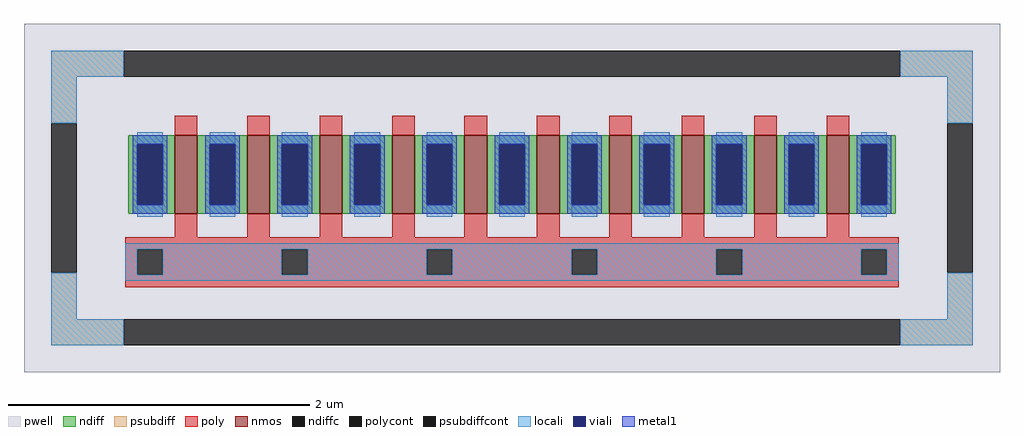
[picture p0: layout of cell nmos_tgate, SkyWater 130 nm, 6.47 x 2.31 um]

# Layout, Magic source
magic
tech sky130A
magscale 1 2
<< pwell >>
rect -646 -262 648 200
<< nmos >>
rect -446 -52 -416 52
rect -350 -52 -320 52
rect -254 -52 -224 52
rect -158 -52 -128 52
rect -62 -52 -32 52
rect 34 -52 64 52
rect 130 -52 160 52
rect 226 -52 256 52
rect 322 -52 352 52
rect 418 -52 448 52
<< ndiff >>
rect -508 40 -446 52
rect -508 -40 -496 40
rect -462 -40 -446 40
rect -508 -52 -446 -40
rect -416 40 -350 52
rect -416 -40 -400 40
rect -366 -40 -350 40
rect -416 -52 -350 -40
rect -320 40 -254 52
rect -320 -40 -304 40
rect -270 -40 -254 40
rect -320 -52 -254 -40
rect -224 40 -158 52
rect -224 -40 -208 40
rect -174 -40 -158 40
rect -224 -52 -158 -40
rect -128 40 -62 52
rect -128 -40 -112 40
rect -78 -40 -62 40
rect -128 -52 -62 -40
rect -32 40 34 52
rect -32 -40 -16 40
rect 18 -40 34 40
rect -32 -52 34 -40
rect 64 40 130 52
rect 64 -40 80 40
rect 114 -40 130 40
rect 64 -52 130 -40
rect 160 40 226 52
rect 160 -40 176 40
rect 210 -40 226 40
rect 160 -52 226 -40
rect 256 40 322 52
rect 256 -40 272 40
rect 306 -40 322 40
rect 256 -52 322 -40
rect 352 40 418 52
rect 352 -40 368 40
rect 402 -40 418 40
rect 352 -52 418 -40
rect 448 40 510 52
rect 448 -40 464 40
rect 498 -40 510 40
rect 448 -52 510 -40
<< ndiffc >>
rect -496 -40 -462 40
rect -400 -40 -366 40
rect -304 -40 -270 40
rect -208 -40 -174 40
rect -112 -40 -78 40
rect -16 -40 18 40
rect 80 -40 114 40
rect 176 -40 210 40
rect 272 -40 306 40
rect 368 -40 402 40
rect 464 -40 498 40
<< psubdiff >>
rect -610 130 -514 164
rect 516 130 612 164
rect -610 68 -576 130
rect 578 68 612 130
rect -610 -192 -576 -130
rect 578 -192 612 -130
rect -610 -226 -514 -192
rect 516 -226 612 -192
<< psubdiffcont >>
rect -514 130 516 164
rect -610 -130 -576 68
rect 578 -130 612 68
rect -514 -226 516 -192
<< poly >>
rect -446 52 -416 78
rect -350 52 -320 78
rect -254 52 -224 78
rect -158 52 -128 78
rect -62 52 -32 78
rect 34 52 64 78
rect 130 52 160 78
rect 226 52 256 78
rect 322 52 352 78
rect 418 52 448 78
rect -446 -83 -416 -52
rect -350 -83 -320 -52
rect -254 -83 -224 -52
rect -158 -83 -128 -52
rect -62 -83 -32 -52
rect 34 -83 64 -52
rect 130 -83 160 -52
rect 226 -83 256 -52
rect 322 -83 352 -52
rect 418 -83 448 -52
rect -512 -99 514 -83
rect -512 -133 -496 -99
rect -462 -133 -304 -99
rect -270 -133 -112 -99
rect -78 -133 80 -99
rect 114 -133 272 -99
rect 306 -133 464 -99
rect 498 -133 514 -99
rect -512 -149 514 -133
<< polycont >>
rect -496 -133 -462 -99
rect -304 -133 -270 -99
rect -112 -133 -78 -99
rect 80 -133 114 -99
rect 272 -133 306 -99
rect 464 -133 498 -99
<< locali >>
rect -610 130 -514 164
rect 516 130 612 164
rect -610 68 -576 130
rect 578 68 612 130
rect -496 40 -462 56
rect -496 -56 -462 -40
rect -400 40 -366 56
rect -400 -56 -366 -40
rect -304 40 -270 56
rect -304 -56 -270 -40
rect -208 40 -174 56
rect -208 -56 -174 -40
rect -112 40 -78 56
rect -112 -56 -78 -40
rect -16 40 18 56
rect -16 -56 18 -40
rect 80 40 114 56
rect 80 -56 114 -40
rect 176 40 210 56
rect 176 -56 210 -40
rect 272 40 306 56
rect 272 -56 306 -40
rect 368 40 402 56
rect 368 -56 402 -40
rect 464 40 498 56
rect 464 -56 498 -40
rect -610 -192 -576 -130
rect -512 -99 514 -91
rect -512 -133 -496 -99
rect -462 -133 -304 -99
rect -270 -133 -112 -99
rect -78 -133 80 -99
rect 114 -133 272 -99
rect 306 -133 464 -99
rect 498 -133 514 -99
rect -512 -141 514 -133
rect 578 -192 612 -130
rect -610 -226 -514 -192
rect 516 -226 612 -192
<< viali >>
rect -496 -40 -462 40
rect -400 -40 -366 40
rect -304 -40 -270 40
rect -208 -40 -174 40
rect -112 -40 -78 40
rect -16 -40 18 40
rect 80 -40 114 40
rect 176 -40 210 40
rect 272 -40 306 40
rect 368 -40 402 40
rect 464 -40 498 40
<< metal1 >>
rect -502 40 -456 52
rect -502 -40 -496 40
rect -462 -40 -456 40
rect -502 -52 -456 -40
rect -406 40 -360 52
rect -406 -40 -400 40
rect -366 -40 -360 40
rect -406 -52 -360 -40
rect -310 40 -264 52
rect -310 -40 -304 40
rect -270 -40 -264 40
rect -310 -52 -264 -40
rect -214 40 -168 52
rect -214 -40 -208 40
rect -174 -40 -168 40
rect -214 -52 -168 -40
rect -118 40 -72 52
rect -118 -40 -112 40
rect -78 -40 -72 40
rect -118 -52 -72 -40
rect -22 40 24 52
rect -22 -40 -16 40
rect 18 -40 24 40
rect -22 -52 24 -40
rect 74 40 120 52
rect 74 -40 80 40
rect 114 -40 120 40
rect 74 -52 120 -40
rect 170 40 216 52
rect 170 -40 176 40
rect 210 -40 216 40
rect 170 -52 216 -40
rect 266 40 312 52
rect 266 -40 272 40
rect 306 -40 312 40
rect 266 -52 312 -40
rect 362 40 408 52
rect 362 -40 368 40
rect 402 -40 408 40
rect 362 -52 408 -40
rect 458 40 504 52
rect 458 -40 464 40
rect 498 -40 504 40
rect 458 -52 504 -40
<< properties >>
string FIXED_BBOX -594 -210 594 210
string gencell sky130_fd_pr__nfet_01v8
string library sky130
string parameters w 0.53 l 0.150 m 1 nf 10 diffcov 100 polycov 100 guard 1 glc 1 grc 1 gtc 1 gbc 1 tbcov 100 rlcov 100 topc 1 botc 1 poverlap 0 doverlap 1 lmin 0.15 wmin 0.42 compatible {sky130_fd_pr__nfet_01v8 sky130_fd_pr__nfet_01v8_lvt  sky130_fd_bs_flash__special_sonosfet_star  sky130_fd_pr__nfet_g5v0d10v5 sky130_fd_pr__nfet_05v0_nvt  sky130_fd_pr__nfet_03v3_nvt} full_metal 1 viasrc 100 viadrn 100 viagate 100 viagb 0 viagr 0 viagl 0 viagt 0
<< end >>
